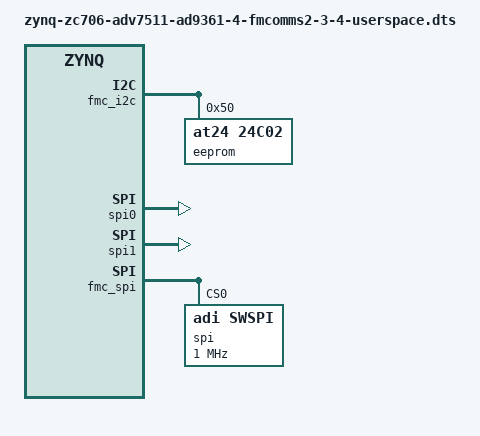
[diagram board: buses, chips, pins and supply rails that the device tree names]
// SPDX-License-Identifier: GPL-2.0
/*
 * Analog Devices AD-FMCOMMS2-EBZ/AD-FMCOMMS3-EBZ
 * https://wiki.analog.com/resources/eval/user-guides/ad-fmcomms2-ebz
 * https://wiki.analog.com/resources/eval/user-guides/ad-fmcomms3-ebz
 *
 * hdl_project: <fmcomms2/zc706>
 * board_revision: <>
 *
 * Copyright (C) 2014-2019 Analog Devices Inc.
 */
/dts-v1/;

#include "zynq-zc706.dtsi"
#include "zynq-zc706-adv7511.dtsi"

&i2c_mux {
	fmc_i2c: i2c@6 {
		#size-cells = <0>;
		#address-cells = <1>;
		reg = <6>;

		eeprom@50 {
			compatible = "at24,24c02";
			reg = <0x50>;
		};
	};
};

&spi0 {
	status = "okay";
};

&spi1 {
	status = "okay";
};

#define fmc_spi spi0
#define pmod_spi spi1

&fmc_spi {
	spi@0 {
		compatible = "adi,swspi";
		spi-cpha;
		reg = <0x0>;
		spi-max-frequency = <1000000>;
	};
};

&fpga_axi {
	ad9361_rx@79020000 {
		compatible = "dmem-uio";
		reg = <0x79020000 0x6000>;
	};

	ad9361_tx@79024000 {
		compatible = "dmem-uio";
		reg = <0x79024000 0x2000>;
	};

	rx_dma@7c400000 {
		compatible = "dmem-uio";
		reg = <0x7c400000 0x10000>;
		uio,number-of-dynamic-regions = <1>;
		uio,dynamic-regions-sizes = <262144>;
	};

	tx_dma@7c420000 {
		compatible = "dmem-uio";
		reg = <0x7c420000 0x10000>;
		uio,number-of-dynamic-regions = <1>;
		uio,dynamic-regions-sizes = <262144>;
	};
};

